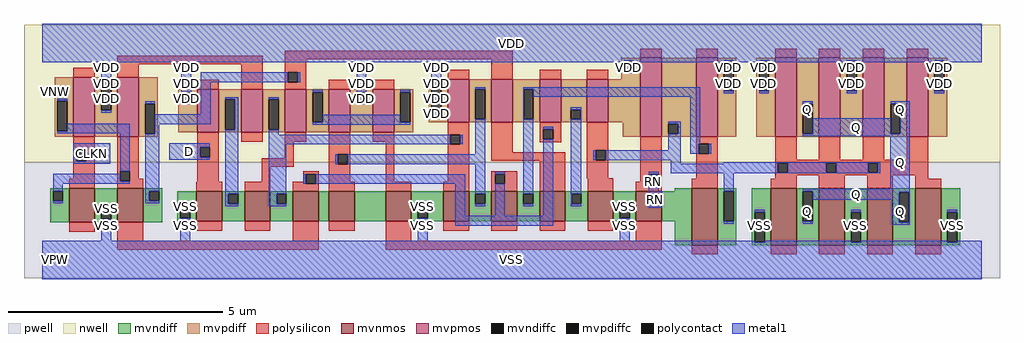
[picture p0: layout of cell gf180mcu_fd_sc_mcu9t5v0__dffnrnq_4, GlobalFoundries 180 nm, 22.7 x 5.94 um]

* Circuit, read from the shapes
.subckt gf180mcu_fd_sc_mcu9t5v0__dffnrnq_4 D RN CLKN Q VDD VNW VPW VSS
XM1 VSS CLKN n1 VPW nfet_06v0 w=0.79u l=0.6u
XM2 n2 n1 VSS VPW nfet_06v0 w=0.79u l=0.6u
XM3 n3 D VSS VPW nfet_06v0 w=0.7u l=0.6u
XM4 n4 n2 n3 VPW nfet_06v0 w=0.7u l=0.6u
XM5 n5 n1 n4 VPW nfet_06v0 w=0.7u l=0.6u
XM6 n6 n7 n5 VPW nfet_06v0 w=0.7u l=0.6u
XM7 VSS RN n6 VPW nfet_06v0 w=0.7u l=0.6u
XM8 n7 n4 VSS VPW nfet_06v0 w=0.7u l=0.6u
XM9 n8 n1 n7 VPW nfet_06v0 w=0.7u l=0.6u
XM10 n9 n2 n8 VPW nfet_06v0 w=0.7u l=0.6u
XM11 VSS n10 n9 VPW nfet_06v0 w=0.7u l=0.6u
XM12 n11 RN VSS VPW nfet_06v0 w=0.7u l=0.6u
XM13 n10 n8 n11 VPW nfet_06v0 w=1.32u l=0.6u
XM14 Q n10 VSS VPW nfet_06v0 w=1.32u l=0.6u m=4
XM15 VDD CLKN n1 VNW pfet_06v0 w=1.38u l=0.5u
XM16 n2 n1 VDD VNW pfet_06v0 w=1.38u l=0.5u
XM17 n3 D VDD VNW pfet_06v0 w=1u l=0.5u
XM18 n4 n1 n3 VNW pfet_06v0 w=1u l=0.5u
XM19 n12 n2 n4 VNW pfet_06v0 w=1u l=0.5u
XM20 VDD n7 n12 VNW pfet_06v0 w=1u l=0.5u
XM21 n12 RN VDD VNW pfet_06v0 w=1u l=0.5u
XM22 n7 n4 VDD VNW pfet_06v0 w=1u l=0.5u
XM23 n8 n2 n7 VNW pfet_06v0 w=1u l=0.5u
XM24 n9 n1 n8 VNW pfet_06v0 w=1u l=0.5u
XM25 VDD n10 n9 VNW pfet_06v0 w=1u l=0.5u
XM26 n10 RN VDD VNW pfet_06v0 w=1.83u l=0.5u
XM27 VDD n8 n10 VNW pfet_06v0 w=1.83u l=0.5u
XM28 Q n10 VDD VNW pfet_06v0 w=1.83u l=0.5u m=4
.ends

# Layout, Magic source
magic
tech gf180mcuD
magscale 1 10
<< nwell >>
rect -86 453 4454 1094
<< pwell >>
rect -86 -86 4454 453
<< mvnmos >>
rect 124 175 244 333
rect 348 175 468 333
rect 716 180 836 320
rect 940 180 1060 320
rect 1164 180 1284 320
rect 1332 180 1452 320
rect 1596 180 1716 320
rect 1864 180 1984 320
rect 2088 180 2208 320
rect 2312 180 2432 320
rect 2536 180 2656 320
rect 2760 180 2880 320
rect 3020 69 3140 333
rect 3388 69 3508 333
rect 3612 69 3732 333
rect 3836 69 3956 333
rect 4060 69 4180 333
<< mvpmos >>
rect 144 573 244 849
rect 348 573 448 849
rect 720 593 820 793
rect 924 593 1024 793
rect 1128 593 1228 793
rect 1332 593 1432 793
rect 1536 593 1636 793
rect 1884 640 1984 840
rect 2088 640 2188 840
rect 2313 640 2413 840
rect 2532 640 2632 840
rect 2780 573 2880 939
rect 3040 573 3140 939
rect 3408 573 3508 939
rect 3612 573 3712 939
rect 3816 573 3916 939
rect 4020 573 4120 939
<< mvndiff >>
rect 36 320 124 333
rect 36 274 49 320
rect 95 274 124 320
rect 36 175 124 274
rect 244 234 348 333
rect 244 188 273 234
rect 319 188 348 234
rect 244 175 348 188
rect 468 320 556 333
rect 2940 320 3020 333
rect 468 274 497 320
rect 543 274 556 320
rect 468 175 556 274
rect 628 239 716 320
rect 628 193 641 239
rect 687 193 716 239
rect 628 180 716 193
rect 836 307 940 320
rect 836 261 865 307
rect 911 261 940 307
rect 836 180 940 261
rect 1060 307 1164 320
rect 1060 261 1089 307
rect 1135 261 1164 307
rect 1060 180 1164 261
rect 1284 180 1332 320
rect 1452 180 1596 320
rect 1716 239 1864 320
rect 1716 193 1745 239
rect 1791 193 1864 239
rect 1716 180 1864 193
rect 1984 307 2088 320
rect 1984 261 2013 307
rect 2059 261 2088 307
rect 1984 180 2088 261
rect 2208 307 2312 320
rect 2208 261 2237 307
rect 2283 261 2312 307
rect 2208 180 2312 261
rect 2432 307 2536 320
rect 2432 261 2461 307
rect 2507 261 2536 307
rect 2432 180 2536 261
rect 2656 239 2760 320
rect 2656 193 2685 239
rect 2731 193 2760 239
rect 2656 180 2760 193
rect 2880 180 3020 320
rect 2940 69 3020 180
rect 3140 320 3228 333
rect 3140 180 3169 320
rect 3215 180 3228 320
rect 3140 69 3228 180
rect 3300 222 3388 333
rect 3300 82 3313 222
rect 3359 82 3388 222
rect 3300 69 3388 82
rect 3508 320 3612 333
rect 3508 180 3537 320
rect 3583 180 3612 320
rect 3508 69 3612 180
rect 3732 222 3836 333
rect 3732 82 3761 222
rect 3807 82 3836 222
rect 3732 69 3836 82
rect 3956 314 4060 333
rect 3956 174 3985 314
rect 4031 174 4060 314
rect 3956 69 4060 174
rect 4180 222 4268 333
rect 4180 82 4209 222
rect 4255 82 4268 222
rect 4180 69 4268 82
<< mvpdiff >>
rect 56 739 144 849
rect 56 599 69 739
rect 115 599 144 739
rect 56 573 144 599
rect 244 836 348 849
rect 244 696 273 836
rect 319 696 348 836
rect 244 573 348 696
rect 448 726 536 849
rect 2692 926 2780 939
rect 2692 880 2705 926
rect 2751 880 2780 926
rect 2692 840 2780 880
rect 1796 827 1884 840
rect 448 586 477 726
rect 523 586 536 726
rect 632 780 720 793
rect 632 734 645 780
rect 691 734 720 780
rect 632 593 720 734
rect 820 746 924 793
rect 820 606 849 746
rect 895 606 924 746
rect 820 593 924 606
rect 1024 746 1128 793
rect 1024 606 1053 746
rect 1099 606 1128 746
rect 1024 593 1128 606
rect 1228 780 1332 793
rect 1228 640 1257 780
rect 1303 640 1332 780
rect 1228 593 1332 640
rect 1432 780 1536 793
rect 1432 734 1461 780
rect 1507 734 1536 780
rect 1432 593 1536 734
rect 1636 780 1724 793
rect 1636 640 1665 780
rect 1711 640 1724 780
rect 1796 687 1809 827
rect 1855 687 1884 827
rect 1796 640 1884 687
rect 1984 793 2088 840
rect 1984 653 2013 793
rect 2059 653 2088 793
rect 1984 640 2088 653
rect 2188 793 2313 840
rect 2188 653 2238 793
rect 2284 653 2313 793
rect 2188 640 2313 653
rect 2413 699 2532 840
rect 2413 653 2457 699
rect 2503 653 2532 699
rect 2413 640 2532 653
rect 2632 640 2780 840
rect 1636 593 1724 640
rect 448 573 536 586
rect 2700 573 2780 640
rect 2880 632 3040 939
rect 2880 586 2911 632
rect 2957 586 3040 632
rect 2880 573 3040 586
rect 3140 926 3228 939
rect 3140 786 3169 926
rect 3215 786 3228 926
rect 3140 573 3228 786
rect 3320 926 3408 939
rect 3320 786 3333 926
rect 3379 786 3408 926
rect 3320 573 3408 786
rect 3508 726 3612 939
rect 3508 586 3537 726
rect 3583 586 3612 726
rect 3508 573 3612 586
rect 3712 926 3816 939
rect 3712 786 3741 926
rect 3787 786 3816 926
rect 3712 573 3816 786
rect 3916 726 4020 939
rect 3916 586 3945 726
rect 3991 586 4020 726
rect 3916 573 4020 586
rect 4120 926 4208 939
rect 4120 786 4149 926
rect 4195 786 4208 926
rect 4120 573 4208 786
<< mvndiffc >>
rect 49 274 95 320
rect 273 188 319 234
rect 497 274 543 320
rect 641 193 687 239
rect 865 261 911 307
rect 1089 261 1135 307
rect 1745 193 1791 239
rect 2013 261 2059 307
rect 2237 261 2283 307
rect 2461 261 2507 307
rect 2685 193 2731 239
rect 3169 180 3215 320
rect 3313 82 3359 222
rect 3537 180 3583 320
rect 3761 82 3807 222
rect 3985 174 4031 314
rect 4209 82 4255 222
<< mvpdiffc >>
rect 69 599 115 739
rect 273 696 319 836
rect 2705 880 2751 926
rect 477 586 523 726
rect 645 734 691 780
rect 849 606 895 746
rect 1053 606 1099 746
rect 1257 640 1303 780
rect 1461 734 1507 780
rect 1665 640 1711 780
rect 1809 687 1855 827
rect 2013 653 2059 793
rect 2238 653 2284 793
rect 2457 653 2503 699
rect 2911 586 2957 632
rect 3169 786 3215 926
rect 3333 786 3379 926
rect 3537 586 3583 726
rect 3741 786 3787 926
rect 3945 586 3991 726
rect 4149 786 4195 926
<< polysilicon >>
rect 348 909 1024 949
rect 144 849 244 893
rect 348 849 448 909
rect 720 793 820 837
rect 924 793 1024 909
rect 1128 932 2188 972
rect 2780 939 2880 983
rect 3040 939 3140 983
rect 3408 939 3508 983
rect 3612 939 3712 983
rect 3816 939 3916 983
rect 4020 939 4120 983
rect 1128 872 1228 932
rect 1128 826 1141 872
rect 1187 826 1228 872
rect 1884 840 1984 884
rect 2088 840 2188 932
rect 2313 840 2413 884
rect 2532 840 2632 884
rect 1128 793 1228 826
rect 1332 793 1432 837
rect 1536 793 1636 837
rect 144 504 244 573
rect 144 458 157 504
rect 203 458 244 504
rect 144 377 244 458
rect 124 333 244 377
rect 348 412 448 573
rect 348 366 361 412
rect 407 377 448 412
rect 720 523 820 593
rect 924 549 1024 593
rect 1128 549 1228 593
rect 720 477 733 523
rect 779 477 820 523
rect 407 366 468 377
rect 348 333 468 366
rect 720 364 820 477
rect 1128 472 1168 549
rect 1020 432 1168 472
rect 1332 491 1432 593
rect 1536 549 1636 593
rect 1332 445 1373 491
rect 1419 445 1432 491
rect 1020 364 1060 432
rect 1212 399 1284 412
rect 1212 364 1225 399
rect 716 320 836 364
rect 940 320 1060 364
rect 1164 353 1225 364
rect 1271 353 1284 399
rect 1164 320 1284 353
rect 1332 364 1432 445
rect 1596 364 1636 549
rect 1884 583 1984 640
rect 1884 537 1897 583
rect 1943 537 1984 583
rect 1884 364 1984 537
rect 2088 500 2188 640
rect 2313 607 2413 640
rect 2313 561 2329 607
rect 2375 561 2413 607
rect 2313 548 2413 561
rect 2532 510 2632 640
rect 2088 460 2432 500
rect 1332 320 1452 364
rect 1596 320 1716 364
rect 1864 320 1984 364
rect 2088 399 2208 412
rect 2088 353 2105 399
rect 2151 353 2208 399
rect 2088 320 2208 353
rect 2312 320 2432 460
rect 2532 464 2573 510
rect 2619 464 2632 510
rect 2532 380 2632 464
rect 2780 399 2880 573
rect 2536 320 2656 380
rect 2780 364 2821 399
rect 2760 353 2821 364
rect 2867 353 2880 399
rect 3040 540 3140 573
rect 3040 494 3053 540
rect 3099 494 3140 540
rect 3040 377 3140 494
rect 3408 465 3508 573
rect 3612 465 3712 573
rect 3816 465 3916 573
rect 4020 465 4120 573
rect 3408 452 4120 465
rect 3408 406 3421 452
rect 3467 406 3646 452
rect 3692 406 3840 452
rect 3886 406 4120 452
rect 3408 393 4120 406
rect 3408 377 3508 393
rect 2760 320 2880 353
rect 3020 333 3140 377
rect 3388 333 3508 377
rect 3612 333 3732 393
rect 3836 333 3956 393
rect 4060 377 4120 393
rect 4060 333 4180 377
rect 124 131 244 175
rect 348 88 468 175
rect 716 136 836 180
rect 940 136 1060 180
rect 1164 88 1284 180
rect 1332 136 1452 180
rect 348 48 1284 88
rect 1596 88 1716 180
rect 1864 136 1984 180
rect 2088 136 2208 180
rect 2312 136 2432 180
rect 2536 136 2656 180
rect 2760 88 2880 180
rect 1596 48 2880 88
rect 3020 25 3140 69
rect 3388 25 3508 69
rect 3612 25 3732 69
rect 3836 25 3956 69
rect 4060 25 4180 69
<< polycontact >>
rect 1141 826 1187 872
rect 157 458 203 504
rect 361 366 407 412
rect 733 477 779 523
rect 1373 445 1419 491
rect 1225 353 1271 399
rect 1897 537 1943 583
rect 2329 561 2375 607
rect 2105 353 2151 399
rect 2573 464 2619 510
rect 2821 353 2867 399
rect 3053 494 3099 540
rect 3421 406 3467 452
rect 3646 406 3692 452
rect 3840 406 3886 452
<< metal1 >>
rect 0 926 4368 1098
rect 0 918 2705 926
rect 273 836 319 918
rect 69 739 115 750
rect 645 780 691 918
rect 273 685 319 696
rect 477 726 523 737
rect 115 599 407 634
rect 69 588 407 599
rect 142 504 315 542
rect 142 458 157 504
rect 203 458 315 504
rect 142 447 315 458
rect 361 412 407 588
rect 49 366 361 401
rect 49 355 407 366
rect 645 723 691 734
rect 737 826 1141 872
rect 1187 826 1198 872
rect 737 677 783 826
rect 1257 780 1303 791
rect 523 631 783 677
rect 849 746 911 757
rect 523 586 543 631
rect 49 320 95 355
rect 49 263 95 274
rect 477 320 543 586
rect 895 606 911 746
rect 589 523 779 542
rect 589 477 733 523
rect 589 466 779 477
rect 477 274 497 320
rect 477 263 543 274
rect 849 307 911 606
rect 849 261 865 307
rect 849 250 911 261
rect 1053 746 1099 757
rect 1461 780 1507 918
rect 1809 827 1855 918
rect 2751 918 3169 926
rect 2705 869 2751 880
rect 1461 723 1507 734
rect 1665 780 1711 791
rect 1303 640 1665 675
rect 1809 676 1855 687
rect 2013 793 2059 804
rect 1257 629 1711 640
rect 1053 583 1099 606
rect 1053 537 1897 583
rect 1943 537 1954 583
rect 1053 307 1135 537
rect 2013 491 2059 653
rect 1362 445 1373 491
rect 1419 445 2059 491
rect 1214 353 1225 399
rect 1271 353 1967 399
rect 1053 261 1089 307
rect 1053 250 1135 261
rect 273 234 319 245
rect 273 90 319 188
rect 641 239 687 250
rect 641 90 687 193
rect 1745 239 1791 250
rect 1745 90 1791 193
rect 1921 204 1967 353
rect 2013 307 2059 445
rect 2237 793 3060 804
rect 2237 653 2238 793
rect 2284 758 3060 793
rect 3215 918 3333 926
rect 3169 775 3215 786
rect 3379 918 3741 926
rect 3333 775 3379 786
rect 3787 918 4149 926
rect 3741 775 3787 786
rect 4195 918 4368 926
rect 4149 775 4195 786
rect 2237 642 2284 653
rect 2457 699 2507 710
rect 2503 653 2507 699
rect 2013 250 2059 261
rect 2105 399 2151 410
rect 2105 204 2151 353
rect 2237 307 2283 642
rect 2237 250 2283 261
rect 2329 607 2375 618
rect 2329 204 2375 561
rect 2457 307 2507 653
rect 2911 632 2968 643
rect 2957 586 2968 632
rect 2911 510 2968 586
rect 2562 464 2573 510
rect 2619 464 2968 510
rect 3014 540 3060 758
rect 3537 726 3583 737
rect 3945 726 4035 737
rect 3583 586 3945 659
rect 3991 586 4035 726
rect 3537 575 4035 586
rect 3014 494 3053 540
rect 3099 494 3110 540
rect 2922 448 2968 464
rect 3169 452 3897 455
rect 3169 448 3421 452
rect 2457 261 2461 307
rect 2457 250 2507 261
rect 2821 399 2867 410
rect 2922 406 3421 448
rect 3467 406 3646 452
rect 3692 406 3840 452
rect 3886 406 3897 452
rect 2922 403 3897 406
rect 2922 402 3215 403
rect 2821 318 2867 353
rect 3169 320 3215 402
rect 3943 331 4035 575
rect 1921 158 2375 204
rect 2685 239 2731 250
rect 2821 242 2882 318
rect 2685 90 2731 193
rect 3537 320 4035 331
rect 3169 169 3215 180
rect 3313 222 3359 233
rect 0 82 3313 90
rect 3583 314 4035 320
rect 3583 279 3985 314
rect 3537 169 3583 180
rect 3761 222 3807 233
rect 3359 82 3761 90
rect 3950 174 3985 279
rect 4031 174 4035 314
rect 3950 163 4035 174
rect 4209 222 4255 233
rect 3807 82 4209 90
rect 4255 82 4368 90
rect 0 -90 4368 82
<< labels >>
flabel metal1 s 142 447 315 542 0 FreeSans 200 0 0 0 CLKN
port 3 nsew clock input
flabel metal1 s 589 466 779 542 0 FreeSans 200 0 0 0 D
port 1 nsew default input
flabel metal1 s 3945 659 4035 737 0 FreeSans 200 0 0 0 Q
port 4 nsew default output
flabel metal1 s 2821 318 2867 410 0 FreeSans 200 0 0 0 RN
port 2 nsew default input
flabel metal1 s 0 918 4368 1098 0 FreeSans 200 0 0 0 VDD
port 5 nsew power bidirectional abutment
flabel metal1 s 2685 245 2731 250 0 FreeSans 200 0 0 0 VSS
port 8 nsew ground bidirectional abutment
flabel nwell s 10 734 110 834 0 FreeSans 400 0 0 0 VNW
port 6 nsew power bidirectional
flabel pwell s 10 -50 110 50 0 FreeSans 400 0 0 0 VPW
port 7 nsew ground bidirectional
rlabel metal1 s 2821 242 2882 318 1 RN
port 2 nsew default input
rlabel metal1 s 3537 659 3583 737 1 Q
port 4 nsew default output
rlabel metal1 s 3537 575 4035 659 1 Q
port 4 nsew default output
rlabel metal1 s 3943 331 4035 575 1 Q
port 4 nsew default output
rlabel metal1 s 3537 279 4035 331 1 Q
port 4 nsew default output
rlabel metal1 s 3950 169 4035 279 1 Q
port 4 nsew default output
rlabel metal1 s 3537 169 3583 279 1 Q
port 4 nsew default output
rlabel metal1 s 3950 163 4035 169 1 Q
port 4 nsew default output
rlabel metal1 s 4149 869 4195 918 1 VDD
port 5 nsew power bidirectional abutment
rlabel metal1 s 3741 869 3787 918 1 VDD
port 5 nsew power bidirectional abutment
rlabel metal1 s 3333 869 3379 918 1 VDD
port 5 nsew power bidirectional abutment
rlabel metal1 s 3169 869 3215 918 1 VDD
port 5 nsew power bidirectional abutment
rlabel metal1 s 2705 869 2751 918 1 VDD
port 5 nsew power bidirectional abutment
rlabel metal1 s 1809 869 1855 918 1 VDD
port 5 nsew power bidirectional abutment
rlabel metal1 s 1461 869 1507 918 1 VDD
port 5 nsew power bidirectional abutment
rlabel metal1 s 645 869 691 918 1 VDD
port 5 nsew power bidirectional abutment
rlabel metal1 s 273 869 319 918 1 VDD
port 5 nsew power bidirectional abutment
rlabel metal1 s 4149 775 4195 869 1 VDD
port 5 nsew power bidirectional abutment
rlabel metal1 s 3741 775 3787 869 1 VDD
port 5 nsew power bidirectional abutment
rlabel metal1 s 3333 775 3379 869 1 VDD
port 5 nsew power bidirectional abutment
rlabel metal1 s 3169 775 3215 869 1 VDD
port 5 nsew power bidirectional abutment
rlabel metal1 s 1809 775 1855 869 1 VDD
port 5 nsew power bidirectional abutment
rlabel metal1 s 1461 775 1507 869 1 VDD
port 5 nsew power bidirectional abutment
rlabel metal1 s 645 775 691 869 1 VDD
port 5 nsew power bidirectional abutment
rlabel metal1 s 273 775 319 869 1 VDD
port 5 nsew power bidirectional abutment
rlabel metal1 s 1809 723 1855 775 1 VDD
port 5 nsew power bidirectional abutment
rlabel metal1 s 1461 723 1507 775 1 VDD
port 5 nsew power bidirectional abutment
rlabel metal1 s 645 723 691 775 1 VDD
port 5 nsew power bidirectional abutment
rlabel metal1 s 273 723 319 775 1 VDD
port 5 nsew power bidirectional abutment
rlabel metal1 s 1809 685 1855 723 1 VDD
port 5 nsew power bidirectional abutment
rlabel metal1 s 273 685 319 723 1 VDD
port 5 nsew power bidirectional abutment
rlabel metal1 s 1809 676 1855 685 1 VDD
port 5 nsew power bidirectional abutment
rlabel metal1 s 1745 245 1791 250 1 VSS
port 8 nsew ground bidirectional abutment
rlabel metal1 s 641 245 687 250 1 VSS
port 8 nsew ground bidirectional abutment
rlabel metal1 s 2685 233 2731 245 1 VSS
port 8 nsew ground bidirectional abutment
rlabel metal1 s 1745 233 1791 245 1 VSS
port 8 nsew ground bidirectional abutment
rlabel metal1 s 641 233 687 245 1 VSS
port 8 nsew ground bidirectional abutment
rlabel metal1 s 273 233 319 245 1 VSS
port 8 nsew ground bidirectional abutment
rlabel metal1 s 4209 90 4255 233 1 VSS
port 8 nsew ground bidirectional abutment
rlabel metal1 s 3761 90 3807 233 1 VSS
port 8 nsew ground bidirectional abutment
rlabel metal1 s 3313 90 3359 233 1 VSS
port 8 nsew ground bidirectional abutment
rlabel metal1 s 2685 90 2731 233 1 VSS
port 8 nsew ground bidirectional abutment
rlabel metal1 s 1745 90 1791 233 1 VSS
port 8 nsew ground bidirectional abutment
rlabel metal1 s 641 90 687 233 1 VSS
port 8 nsew ground bidirectional abutment
rlabel metal1 s 273 90 319 233 1 VSS
port 8 nsew ground bidirectional abutment
rlabel metal1 s 0 -90 4368 90 1 VSS
port 8 nsew ground bidirectional abutment
<< properties >>
string FIXED_BBOX 0 0 4368 1008
string GDS_END 1538394
string GDS_FILE $PDKPATH/libs.ref/gf180mcu_fd_sc_mcu9t5v0/gds/gf180mcu_fd_sc_mcu9t5v0.gds
string GDS_START 1528262
string LEFclass core
string LEFsite GF018hv5v_green_sc9
string LEFsymmetry X Y
<< end >>
